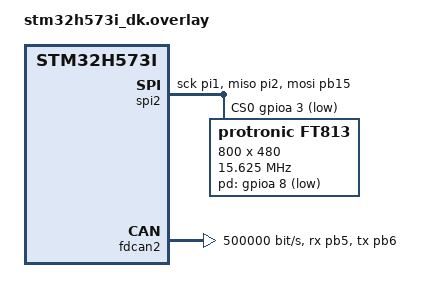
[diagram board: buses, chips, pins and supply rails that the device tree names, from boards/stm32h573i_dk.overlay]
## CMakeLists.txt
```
# Zephyr-Build der CANbossTouch-App (LVGL-UI + CANopenNode + Berry).
#
#   west build -b native_sim/native/64 CANboss/apps/touch
#   ./build/zephyr/zephyr.exe          # LVGL-Fenster (SDL2) + Shell auf stdin
#
#   west build -b stm32h573i_dk CANboss/apps/touch && west flash
#
# Headless (ohne SDL2):
#   west build -b native_sim/native/64 CANboss/apps/touch -- \
#     -DEXTRA_CONF_FILE=overlays/headless.conf \
#     -DEXTRA_DTC_OVERLAY_FILE=overlays/headless.overlay

cmake_minimum_required(VERSION 3.20.0)
find_package(Zephyr REQUIRED HINTS $ENV{ZEPHYR_BASE})
project(canbosstouch LANGUAGES C)

set(REPO_ROOT ${CMAKE_CURRENT_SOURCE_DIR}/../..)
set(CANOPEN_DIR ${REPO_ROOT}/modules/CANopenNode)
set(BERRY_DIR ${REPO_ROOT}/modules/berry)
set(CBLIB ${REPO_ROOT}/lib)

# EDS-generierte LVGL-Screens + PoC-Konfiguration
# (python3 tools/eds2lvgl.py bzw. tools/poc2lvgl.py im Repo-Root)
file(GLOB canboss_gen_sources ${CMAKE_CURRENT_SOURCE_DIR}/app/generated/*.c)

target_sources(app PRIVATE
    src/main.c
    src/canboss_sdo_zephyr.c
    src/canboss_poc_can_zephyr.c
    # gemeinsame CANopen-Schicht (lib/canopen) + Master-OD
    ${CBLIB}/canopen/can_if.c
    ${CBLIB}/canopen/can_zephyr.c
    ${CBLIB}/canopen/osal_zephyr.c
    ${CBLIB}/canopen/co_node.c
    ${CBLIB}/canopen/port/CO_driver.c
    # App-Schicht (LVGL-Screens)
    app/canboss_ui.c
    app/canboss_poc.c
    ${canboss_gen_sources}
    # CANopenNode-Stack (Submodul, protronic-Fork); nicht benoetigte
    # Module sind per CO_CONFIG in lib/canopen/port deaktiviert.
    ${CANOPEN_DIR}/CANopen.c
    ${CANOPEN_DIR}/301/CO_ODinterface.c
    ${CANOPEN_DIR}/301/CO_NMT_Heartbeat.c
    ${CANOPEN_DIR}/301/CO_HBconsumer.c
    ${CANOPEN_DIR}/301/CO_Emergency.c
    ${CANOPEN_DIR}/301/CO_SDOserver.c
    ${CANOPEN_DIR}/301/CO_SDOclient.c
    ${CANOPEN_DIR}/301/CO_PDO.c
    ${CANOPEN_DIR}/301/CO_SYNC.c
    ${CANOPEN_DIR}/301/CO_TIME.c
    ${CANOPEN_DIR}/301/CO_fifo.c
    ${CANOPEN_DIR}/301/crc16-ccitt.c
)

# FT813-Display: Framebuffer-Treiber ODER DRAW_EVE-SPI-Glue
if(CONFIG_CANBOSSTOUCH_DRAW_EVE)
    # Lokale Kopie: Upstream-flush_cb laesst den CMD-Burst zwischen Frames
    # offen (SPI-Korruption durch Touch-Reads) und wartet ohne Timeout.
    target_sources(app PRIVATE
        drivers/lv_draw_eve_zephyr.c
        drivers/lv_draw_eve_display.c
    )
elseif(CONFIG_SPI)
    # Legacy: dummer RGB565-Framebuffer in RAM_G (nicht fuer stm32h573i_dk)
    target_sources(app PRIVATE drivers/ft813.c)
endif()

target_include_directories(app PRIVATE
    src
    app
    app/generated
    drivers
    ${CBLIB}/canopen
    ${CBLIB}/canopen/port
    ${CANOPEN_DIR}
    # canboss_types.h nutzt "lvgl/lvgl.h": Elternverzeichnis des
    # LVGL-Moduls aus dem west-Manifest
    ${ZEPHYR_LVGL_MODULE_DIR}/..
)

# Master-OD: zur Buildzeit aus eds/canboss_master.eds generiert, wenn der
# EDSSharp-CLI da ist; sonst die eingecheckten Dateien aus lib/od/
include(${CBLIB}/od/od_codegen.cmake)
canboss_od_add(canboss_master)

# ---------------------------------------------------------------- Berry
if(CONFIG_CANBOSSTOUCH_BERRY)
    # gemeinsame Berry-Schicht: VM, od_*-Bindings, REPL, coc-Codegen
    # (libm: auf native_sim Teil der Host-glibc; Embedded bringt die
    # Toolchain sie selbst mit)
    include(${CBLIB}/berry_od/berry.cmake)
    # Shell-Kommando "berry" (Ausgabe an die Zephyr-Shell)
    target_sources(app PRIVATE src/berry_shell.c)
endif()
```

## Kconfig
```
# Applikationsoptionen der CANbossTouch-Zephyr-App

mainmenu "CANbossTouch - CANopen-Touchpanel"

config CANBOSSTOUCH_NODE_ID
	int "Eigene CANopen-Node-ID des Panels"
	range 1 127
	default 127
	help
	  Node-ID, mit der das Panel selbst am Bus haengt
	  (canboss_master.eds -> App/OD, Node 127).

config CANBOSSTOUCH_BERRY
	bool "Berry-Scripting (od-Modul + Shell-Kommando)"
	default y
	help
	  Bindet die Berry-VM (Middlewares/Third_Party/berry) ein und
	  registriert das Shell-Kommando "berry". Skripte erreichen das
	  Objektverzeichnis ueber od.read/od.write (SDO zu entfernten
	  Knoten) und od.local/od.local_write (eigenes OD, inkl. der
	  per RPDO empfangenen PDO-Werte).

config CANBOSSTOUCH_DRAW_EVE
	bool "LVGL DRAW_EVE fuer FT813 (GPU-Displaylisten)"
	depends on LV_USE_DRAW_EVE && SPI && GPIO
	default n
	help
	  Rendert die UI ueber LVGL LV_USE_DRAW_EVE als EVE-Displaylisten
	  auf dem gen4-FT813 (kein MCU-Framebuffer). SPI/GPIO kommen aus
	  dem DT-Knoten protronic,ft813; Touch ueber lv_draw_eve_touch.
	  native_sim bleibt beim Zephyr-Display-Binding (SDL/Dummy).

source "Kconfig.zephyr"
```

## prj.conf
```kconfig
# Zephyr-Konfiguration der CANbossTouch-App

CONFIG_CAN=y

# LVGL (Modul aus dem west-Manifest); Display kommt aus dem Devicetree
# (chosen zephyr,display)
CONFIG_DISPLAY=y
CONFIG_LVGL=y
# Spitzenverbrauch beim Navigieren (gemessen, 64-bit native_sim): ~59 KiB.
# Boards mit knappem RAM setzen in boards/<board>.conf einen kleineren Pool.
CONFIG_LV_Z_MEM_POOL_SIZE=262144
# lv_malloc-Fehler hart melden statt NULL still zu dereferenzieren (SIGSEGV)
CONFIG_LV_USE_ASSERT_MALLOC=y
CONFIG_LV_USE_ASSERT_NULL=y
CONFIG_LV_FONT_MONTSERRAT_14=y
CONFIG_LV_FONT_MONTSERRAT_20=y
CONFIG_LV_FONT_MONTSERRAT_24=y
CONFIG_LV_USE_LIST=y
CONFIG_LV_USE_SPINBOX=y
CONFIG_LV_USE_KEYBOARD=y
CONFIG_LV_USE_TEXTAREA=y
CONFIG_LV_USE_BAR=y
CONFIG_LV_USE_SLIDER=y
CONFIG_LV_USE_SWITCH=y
CONFIG_LV_USE_FLEX=y

# Eingabe (Touch/Maus -> LVGL-Pointer)
CONFIG_INPUT=y

# Shell mit "berry"-Kommando (Skript-Zugriff auf OD/PDOs)
CONFIG_SHELL=y
CONFIG_SHELL_STACK_SIZE=16384
CONFIG_SHELL_CMD_BUFF_SIZE=512

# Main-Thread: LVGL-Loop; CAN-RX/Mainline/SDO-Worker sind k_threads
CONFIG_MAIN_STACK_SIZE=16384
CONFIG_HEAP_MEM_POOL_SIZE=131072

# Berry-VM: malloc aus der libc (native_sim: Host-libc)
CONFIG_BOOT_BANNER=n

# Gleitkomma-Formatierung (Berry real, F32-Datenpunkte)
CONFIG_CBPRINTF_FP_SUPPORT=y

# LVGLs Assert-Handler ist im Zephyr-Modul __ASSERT_NO_MSG(false) - ohne
# CONFIG_ASSERT ein No-Op: ein voller LVGL-Pool (LV_USE_ASSERT_MALLOC)
# laeuft dann still in den Bus Fault, der Main-Thread stirbt und haelt den
# EVE-Bus-Lock fuer immer ('eve status' -> Timeout). Asserts scharf schalten,
# damit OOM & Co. laut auf der Konsole landen.
CONFIG_ASSERT=y
```

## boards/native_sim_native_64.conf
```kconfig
# native_sim: LVGL-Fenster ueber den SDL-Displaytreiber (libsdl2-dev
# auf dem Host noetig), Maus als LVGL-Pointer.
# Headless (CI/Container ohne SDL2): mit
#   -DEXTRA_CONF_FILE=overlays/headless.conf
#   -DEXTRA_DTC_OVERLAY_FILE=overlays/headless.overlay
# auf das Dummy-Display umschalten.
CONFIG_SDL_DISPLAY=y
CONFIG_INPUT_SDL_TOUCH=y
# Shell (berry-Kommando) ueber die UART-Konsole auf stdin/stdout
CONFIG_SERIAL=y
CONFIG_UART_NATIVE_PTY=y
CONFIG_UART_NATIVE_PTY_0_ON_STDINOUT=y
```

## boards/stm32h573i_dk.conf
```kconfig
# STM32H573I-DK: FT813 (EVE2) am SPI2, CAN ueber FDCAN2
CONFIG_SPI=y
CONFIG_GPIO=y
CONFIG_DUMMY_DISPLAY=y

# LVGL EVE-GPU-Pfad (Displaylisten); Zephyr-Chosen ist nur Dummy (min. VDB)
CONFIG_LV_USE_DRAW_EVE=y
CONFIG_LV_DRAW_EVE_EVE_GENERATION=2
CONFIG_LV_DRAW_EVE_WRITE_BUFFER_SIZE=2048
CONFIG_CANBOSSTOUCH_DRAW_EVE=y
CONFIG_LV_Z_VDB_SIZE=1
CONFIG_LV_Z_BITS_PER_PIXEL=16
CONFIG_LV_Z_DOUBLE_VDB=n

# 640 KiB SRAM: Heaps knapper als am PC
CONFIG_HEAP_MEM_POOL_SIZE=32768

# Berry braucht eine vollwertige libc (setjmp, malloc, strtod)
CONFIG_PICOLIBC=y
CONFIG_COMMON_LIBC_MALLOC_ARENA_SIZE=57344

# Konsole/Shell auf der ST-Link-VCP-UART (Board-Default)
CONFIG_UART_CONSOLE=y

# LVGL-Warnungen (Pool voll, RAM_G voll, unsupported Font, ...) auf die
# Konsole + 'lvgl'-Shell (Speicher-/Monitor-Stats) fuer die Haenger-Diagnose
CONFIG_LV_USE_LOG=y
CONFIG_LV_LOG_LEVEL_WARN=y
CONFIG_LV_Z_SHELL=y

# LOG_MODE_MINIMAL: LOG_ERR/LOG_INF gehen direkt nach printk, ohne die
# Deferred-Puffer des Log-Subsystems (spart RAM bei 640 KiB SRAM)
CONFIG_LOG=y
CONFIG_LOG_MODE_MINIMAL=y

# Feintuning fuer 640 KiB SRAM (Zephyr 4.4 / SDK 1.0).
# Node 16 hat 22 Zeilen; mit eager lv_keyboard (Dutzende Buttons) knackte
# der 40-KiB-Pool (Bus Fault auf spec_attr->ext_draw_size). Tastatur ist
# jetzt lazy; 64 KiB lassen Spielraum fuer den dichten Screen + Glyphen.
CONFIG_LV_Z_MEM_POOL_SIZE=65536
CONFIG_SHELL_STACK_SIZE=9216
CONFIG_MAIN_STACK_SIZE=12288
```

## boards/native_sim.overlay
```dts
/*
 * native_sim: 800x480-Panel (wie der STM32-Zielaufbau) und
 * LVGL-Pointer auf dem SDL-Touch/Maus-Eingang.
 *
 * CAN: chosen zephyr,canbus bleibt auf can_loopback0 (Default) -
 * damit antwortet der eigene SDO-Server des Panels auf SDO-Anfragen
 * des Panels (Loopback-Demo, auch fuer Berry-Skripte). Fuer echtes
 * Host-SocketCAN das vcan-Overlay dazunehmen:
 *   -DEXTRA_DTC_OVERLAY_FILE=overlays/vcan.overlay
 */

/ {
	lvgl_pointer {
		compatible = "zephyr,lvgl-pointer-input";
		input = <&input_sdl_touch>;
	};
};

&sdl_dc {
	height = <480>;
	width = <800>;
};
```

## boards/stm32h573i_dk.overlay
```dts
/*
 * STM32H573I-DK mit gen4-FT813-70CTP-CLB am Arduino-Header
 * (Verdrahtung siehe README im Repo-Root):
 *
 *   SCK  = D13 = PI1  (SPI2_SCK)     MISO = D12 = PI2  (SPI2_MISO)
 *   MOSI = D11 = PB15 (SPI2_MOSI)    /CS  = D10 = PA3  (GPIO)
 *   PD   = D9  = PA8  (GPIO)         INT  = D8  = PG8  (unbenutzt)
 *   CAN  : RX = D3 = PB5 (FDCAN2_RX)  TX = D15 = PB6 (FDCAN2_TX)
 *
 * zephyr,display zeigt auf ein Dummy-Display (Zephyr-LVGL-Modul braucht
 * ein Chosen); die echte UI laeuft ueber LVGL DRAW_EVE + SPI-Glue am
 * ft813-Knoten. Touch kommt vom Pointer-Indev des DRAW_EVE-Glue
 * (native FT813-Touch-Engine), nicht von zephyr,lvgl-pointer-input.
 */

/ {
	chosen {
		zephyr,display = &dummy_dc;
		zephyr,canbus = &fdcan2;
	};

	dummy_dc: dummy_dc {
		compatible = "zephyr,dummy-dc";
		width = <800>;
		height = <480>;
	};
};

&spi2 {
	status = "okay";
	/* /CS als GPIO: DRAW_EVE steuert CS manuell ueber mehrere
	 * SPI-Bursts hinweg (Zephyr-Auto-CS waere zu kurz). */
	pinctrl-0 = <&spi2_sck_pi1 &spi2_miso_pi2 &spi2_mosi_pb15>;
	pinctrl-names = "default";
	cs-gpios = <&gpioa 3 GPIO_ACTIVE_LOW>;

	ft813: ft813@0 {
		compatible = "protronic,ft813";
		reg = <0>;
		/* Bring-up im Glue mit 8 MHz; Betrieb danach mit
		 * 250 MHz Kerneltakt / 16 = 15.625 MHz (FT81x-Max 30 MHz) */
		spi-max-frequency = <15625000>;
		pd-gpios = <&gpioa 8 GPIO_ACTIVE_LOW>; /* PD_N: low = Power-Down */
		width = <800>;
		height = <480>;
		backlight-duty = <96>;
		touch-poll-ms = <0>; /* Touch ueber lv_draw_eve_touch */
	};
};

/* CANopen ueber FDCAN2 am Arduino-Header (PB5/PB6); das Onboard-FDCAN1
 * des DK bleibt frei. */
&fdcan2 {
	status = "okay";
	pinctrl-0 = <&fdcan2_rx_pb5 &fdcan2_tx_pb6>;
	pinctrl-names = "default";
	bitrate = <500000>; /* wie der bisherige Firmware-Stand */
};
```

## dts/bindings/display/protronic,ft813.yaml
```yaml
# FTDI/Bridgetek FT813 (EVE2) am SPI — DT-Knoten fuer Timings/GPIO.
# Auf stm32h573i_dk steuert drivers/lv_draw_eve_zephyr.c den Chip
# (LVGL DRAW_EVE). Legacy: drivers/ft813.c als dummer RGB565-Framebuffer.

description: FT813 (EVE2) SPI display (DRAW_EVE glue or legacy framebuffer)

compatible: "protronic,ft813"

include: [spi-device.yaml]

properties:
  pd-gpios:
    type: phandle-array
    required: true
    description: |
      Power-Down-/Reset-Leitung (PD_N, low-aktiv). Asserted = Chip im
      Power-Down.

  width:
    type: int
    default: 800
    description: Panelbreite in Pixeln

  height:
    type: int
    default: 480
    description: Panelhoehe in Pixeln

  backlight-duty:
    type: int
    default: 96
    description: Backlight-PWM-Tastgrad nach dem Einschalten (0..128)

  touch-poll-ms:
    type: int
    default: 30
    description: |
      Nur Legacy-Framebuffer-Treiber: Abtastintervall der Touch-Engine
      in Millisekunden (0 = aus). DRAW_EVE pollt die Touch-Engine ueber
      den eigenen LVGL-Pointer-Indev des Glue-Codes.
```

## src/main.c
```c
/**
 * main.c
 *
 * Einstieg der CANbossTouch-Zephyr-App (Port des STM32-Builds):
 *
 *  - LVGL initialisiert das Zephyr-Modul selbst (SYS_INIT, Display aus
 *    dem Devicetree: SDL-Fenster auf native_sim; auf STM32 ein Dummy
 *    als Chosen + DRAW_EVE fuer den FT813)
 *  - CANopenNode-Stack (Node 127, lib/od/canboss_master) ueber lib/canopen
 *  - SDO-Worker fuer die UI-Datenpunkte (canboss_sdo_zephyr.c)
 *  - EDS-generierte LVGL-Screens (App/canboss_ui.c + App/generated/)
 *  - optional Berry-Scripting mit od-Modul + Shell-Kommando "berry"
 *
 * Der Main-Thread faehrt anschliessend die LVGL-Timer-Schleife.
 */

#include <stdio.h>
#include <string.h>

#include <zephyr/device.h>
#include <zephyr/drivers/display.h>

#include <zephyr/kernel.h>

#include "lvgl/lvgl.h"

#include "canboss_poc.h"
#include "canboss_sdo.h"
#include "canboss_ui.h"
#include "co_node.h"
#include "canboss_master.h" /* nach co_node.h (CANopenNode-Typen) */

#ifdef CONFIG_CANBOSSTOUCH_DRAW_EVE
#include "lv_draw_eve_zephyr.h"
#endif

#ifdef CONFIG_CANBOSSTOUCH_BERRY
#include "canboss_berry.h"
#endif

#ifdef CB_DEBUG_OPEN_NODE
/* Monkey-Tester: simuliert Maus-Eingaben ueber den Zephyr-Input-Pfad
 * (SDL-Touch-Device -> lvgl_pointer -> Indev). Tippt/zieht zufaellig
 * auf echte Widgets (Listeneintraege, Back-Button, Slider, ...), damit
 * Navigation + Widget-Interaktion dauerhaft durchlaufen werden. */
#include <zephyr/input/input.h>
#include <lvgl_mem.h>
#include <zephyr/sys/sys_heap.h>

static uint32_t cb_dbg_seed = 0x2f6e2b1u;

static uint32_t
cb_dbg_rand(void) {
    cb_dbg_seed = cb_dbg_seed * 1664525u + 1013904223u;
    return cb_dbg_seed >> 8;
}

static void
cb_debug_touch(int x, int y, int pressed) {
    const struct device* tdev = DEVICE_DT_GET(DT_NODELABEL(input_sdl_touch));
    input_report_abs(tdev, INPUT_ABS_X, x, false, K_FOREVER);
    input_report_abs(tdev, INPUT_ABS_Y, y, false, K_FOREVER);
    input_report_key(tdev, INPUT_BTN_TOUCH, pressed, true, K_FOREVER);
}

/* Zufaelligen (Ur-)Enkel des aktiven Screens auswaehlen */
static lv_obj_t*
cb_debug_pick(lv_obj_t* obj, int depth) {
    uint32_t n = lv_obj_get_child_count(obj);
    if (n == 0 || depth > 7 || (cb_dbg_rand() % 5u) == 0u) {
        return obj;
    }
    return cb_debug_pick(lv_obj_get_child(obj, (int32_t)(cb_dbg_rand() % n)), depth + 1);
}

static void
cb_debug_nav_timer(lv_timer_t* t) {
    static int pressed = 0;
    static int px, py;
    static uint32_t taps = 0;
    lv_obj_t* scr = lv_screen_active();

    if (!pressed) {
        if ((cb_dbg_rand() % 4u) != 0u) { /* 75%: gezielt ein Widget treffen */
            lv_obj_t* target = cb_debug_pick(scr, 0);
            lv_area_t a;
            lv_obj_get_coords(target, &a);
            px = (a.x1 + a.x2) / 2;
            py = (a.y1 + a.y2) / 2;
        } else { /* 25%: freie Position */
            px = (int)(cb_dbg_rand() % (uint32_t)lv_obj_get_width(scr));
            py = (int)(cb_dbg_rand() % (uint32_t)lv_obj_get_height(scr));
        }
        cb_debug_touch(px, py, 1);
        pressed = 1;
        if ((++taps % 50u) == 0u) {
            struct sys_memory_stats st = {0};
            lvgl_heap_stats(&st);
            printf("dbg-monkey: %u taps, lvgl-heap: used=%zu free=%zu max=%zu\n", taps, st.allocated_bytes,
                   st.free_bytes, st.max_allocated_bytes);
            fflush(stdout);
        }
    } else {
        if ((cb_dbg_rand() % 3u) == 0u) { /* 1/3: ziehen statt loslassen */
            px += (int)(cb_dbg_rand() % 121u) - 60;
            py += (int)(cb_dbg_rand() % 121u) - 60;
            if (px < 0) { px = 0; }
            if (py < 0) { py = 0; }
            cb_debug_touch(px, py, 1);
        } else {
            cb_debug_touch(px, py, 0);
            pressed = 0;
        }
    }
    (void)t;
}
#endif

int
main(void) {
    /* OD-Konfiguration des Panels (muss den Stack ueberleben) */
    static CO_config_t cb_master_config;
    memset(&cb_master_config, 0, sizeof(cb_master_config));
    canboss_master_INIT_CONFIG(cb_master_config);

    /* Raw-Frames der PoC-Hallenlichtsteuerung aus dem RX-Thread */
    cb_co_set_raw_rx_hook(canboss_poc_can_rx);

    const cb_can_backend_t* backend = cb_can_backend_find("zephyr");
    if (cb_co_start(canboss_master, &cb_master_config, backend, "zephyr,canbus", 0, CONFIG_CANBOSSTOUCH_NODE_ID)
        != 0) {
        printf("Warnung: %s - UI laeuft ohne CAN weiter\n", cb_co_error());
    }

    canboss_sdo_init();

#ifdef CONFIG_CANBOSSTOUCH_BERRY
    canboss_berry_init(canboss_master);
    {
        uint8_t ids[64];
        uint16_t n = canboss_node_count < 64 ? canboss_node_count : 64;
        for (uint16_t i = 0; i < n; i++) {
            ids[i] = canboss_nodes[i]->node_id;
        }
        canboss_berry_set_nodes(ids, n);
    }
#endif

    /* Ohne bereites Display hat lvgl_init() (SYS_INIT des LVGL-Moduls)
     * abgebrochen, BEVOR lv_init()/Heap-Init liefen - jeder lv_*-Aufruf
     * wuerde dann abstuerzen (auf native_sim z.B. wenn SDL kein Fenster
     * oeffnen kann). Klar melden statt SIGSEGV. */
    const struct device* display = DEVICE_DT_GET(DT_CHOSEN(zephyr_display));
    if (!device_is_ready(display)) {
        printf("Fehler: Display nicht bereit (native_sim: SDL/DISPLAY pruefen) - UI startet nicht, CAN-Stack laeuft "
               "weiter\n");
        for (;;) {
            k_msleep(1000);
        }
    }

#ifdef CONFIG_CANBOSSTOUCH_DRAW_EVE
    /* STM32: Chosen ist Dummy (Zephyr-LVGL-Zwang); echte UI ueber EVE-GPU */
    if (canboss_eve_display_init() != 0) {
        /* Ohne antwortenden Chip wuerde die Renderschleife in
         * EVE_execute_cmd() endlos auf den Koprozessor warten. Also nicht
         * rendern, aber die Shell fuer 'eve status'/'eve reg' am Leben
         * halten. */
        printf("Fehler: FT813 DRAW_EVE-Init fehlgeschlagen - UI startet nicht.\n"
               "Diagnose in der Shell: 'eve status', 'eve reg 302000 8'\n");
        for (;;) {
            k_msleep(1000);
        }
    }
#else
    /* Display einschalten: der SDL-Treiber (native_sim) praesentiert
     * erst nach blanking_off. (Das LVGL-Modul selbst ruft blanking_off
     * nicht auf.) */
    (void)display_blanking_off(display);
#endif

    canboss_ui_init();
#ifdef CB_DEBUG_OPEN_NODE /* Testpfad: Monkey-Eingaben headless simulieren */
    lv_timer_create(cb_debug_nav_timer, 60, NULL);
#endif

    for (;;) {
#ifdef CONFIG_CANBOSSTOUCH_DRAW_EVE
        uint32_t sleep_ms = canboss_eve_timer_handler();
#else
        uint32_t sleep_ms = lv_timer_handler();
#endif
        if (sleep_ms == LV_NO_TIMER_READY || sleep_ms > 50u) {
            sleep_ms = 50u;
        }
        if (sleep_ms < 1u) {
            sleep_ms = 1u;
        }
        k_msleep((int32_t)sleep_ms);
    }

    return 0;
}
```

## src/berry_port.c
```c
/**
 * berry_port.c
 *
 * Berry-Portierungsschicht der Zephyr-App (ersetzt berry/default/be_port.c):
 *
 *  - be_writebuffer(): Skript-Ausgabe (print, Fehlermeldungen) geht an
 *    eine umschaltbare Senke - waehrend eines Shell-Kommandos an die
 *    Shell, sonst an stdout/Konsole.
 *  - kein Dateisystem: Datei-API als Stubs (BE_USE_FILE_SYSTEM 0).
 */

#include "berry.h"

#include <stdio.h>
#include <string.h>

#include "canboss_berry.h"

static cb_berry_sink_t cb_sink;
static void* cb_sink_user;

void
cb_berry_set_sink(cb_berry_sink_t sink, void* user) {
    cb_sink = sink;
    cb_sink_user = user;
}

BERRY_API void
be_writebuffer(const char* buffer, size_t length) {
    if (cb_sink != NULL) {
        cb_sink(cb_sink_user, buffer, length);
    } else {
        fwrite(buffer, 1, length, stdout);
    }
}

BERRY_API char*
be_readstring(char* buffer, size_t size) {
    (void)buffer;
    (void)size;
    return NULL; /* kein interaktives stdin (REPL laeuft ueber die Shell) */
}

/* Datei-API: ohne Dateisystem nur Stubs (BE_USE_FILE_SYSTEM 0) */

void*
be_fopen(const char* filename, const char* modes) {
    (void)filename;
    (void)modes;
    return NULL;
}

int
be_fclose(void* hfile) {
    (void)hfile;
    return -1;
}

size_t
be_fwrite(void* hfile, const void* buffer, size_t length) {
    if (hfile == stdout || hfile == stderr) {
        be_writebuffer(buffer, length);
        return length;
    }
    return 0;
}

size_t
be_fread(void* hfile, void* buffer, size_t length) {
    (void)hfile;
    (void)buffer;
    (void)length;
    return 0;
}

char*
be_fgets(void* hfile, void* buffer, int size) {
    (void)hfile;
    (void)buffer;
    (void)size;
    return NULL;
}

int
be_fseek(void* hfile, long offset) {
    (void)hfile;
    (void)offset;
    return -1;
}

long int
be_ftell(void* hfile) {
    (void)hfile;
    return -1;
}

long int
be_fflush(void* hfile) {
    (void)hfile;
    return 0;
}

size_t
be_fsize(void* hfile) {
    (void)hfile;
    return 0;
}
```

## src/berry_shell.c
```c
/**
 * berry_shell.c
 *
 * Zephyr-Shell-Kommando "berry" des Touch-Panels: fuehrt Skripttext
 * ueber die gemeinsame Berry-Schicht (lib/berry_od) aus, Ausgabe geht
 * an die Shell. `berry help()` zeigt Beispiele und die od_*-API.
 */

#include <stdio.h>

#include <zephyr/shell/shell.h>

#include "co_node.h" /* OD-Typen fuer canboss_berry.h */

#include "canboss_berry.h"

static void
cb_shell_sink(void* user, const char* buf, size_t len) {
    const struct shell* sh = (const struct shell*)user;
    shell_fprintf(sh, SHELL_NORMAL, "%.*s", (int)len, buf);
}

static int
cmd_berry(const struct shell* sh, size_t argc, char** argv) {
    /* Argumente wieder zu einem Skripttext zusammensetzen */
    static char code[CONFIG_SHELL_CMD_BUFF_SIZE];
    code[0] = '\0';
    size_t pos = 0;
    for (size_t i = 1; i < argc; i++) {
        int w = snprintf(code + pos, sizeof(code) - pos, "%s%s", i > 1 ? " " : "", argv[i]);
        if (w < 0 || (size_t)w >= sizeof(code) - pos) {
            break;
        }
        pos += (size_t)w;
    }

    cb_berry_set_sink(cb_shell_sink, (void*)sh);
    int ret = canboss_berry_exec(code);
    cb_berry_set_sink(NULL, NULL);
    return ret;
}

SHELL_CMD_ARG_REGISTER(berry, NULL,
                       "Berry-Skript ausfuehren; 'berry help()' zeigt Beispiele, "
                       "z.B.: berry print(od_read(127,0x1017,0))",
                       cmd_berry, 2, 32);
```

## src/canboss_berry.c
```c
/**
 * canboss_berry.c
 *
 * Berry-VM mit od_*-Bindings (siehe canboss_berry.h) und
 * Zephyr-Shell-Kommando "berry".
 *
 * Remote-Zugriffe laufen ueber die blockierenden SDO-Transfers aus
 * lib/canopen/co_node.c (mit dem SDO-Worker der UI serialisiert), lokale
 * OD-Zugriffe ueber die OD-Schnittstelle von CANopenNode unter
 * CO_LOCK_OD - dort liegen auch die per RPDO empfangenen PDO-Werte
 * (z.B. 0x2110 Analogeingaenge, 0x2111 Temperatur).
 */

#include "canboss_berry.h"

#include <stdio.h>
#include <stdlib.h>
#include <string.h>

#include <zephyr/kernel.h>
#include <zephyr/shell/shell.h>

#include "berry.h"

#include "CANopen.h"
#include "canboss_master.h"

#include "canboss_types.h"
#include "co_node.h"
#include "osal.h"

static bvm* cb_vm;

/* ------------------------------------------------------------------ */
/* Hilfen                                                              */

static int64_t
cb_le_to_int(const uint8_t* data, size_t len) {
    uint64_t u = 0;
    for (size_t i = 0; i < len && i < 8; i++) {
        u |= (uint64_t)data[i] << (8u * i);
    }
    return (int64_t)u;
}

static void
cb_int_to_le(uint8_t* data, size_t len, int64_t v) {
    for (size_t i = 0; i < len; i++) {
        data[i] = (uint8_t)((uint64_t)v >> (8u * i));
    }
}

static int
cb_arg_error(bvm* vm, const char* msg) {
    be_raise(vm, "type_error", msg);
    be_return_nil(vm);
}

static int
cb_sdo_error(bvm* vm, uint32_t abort_code) {
    be_raise(vm, "sdo_error", cb_co_abort_str(abort_code));
    be_return_nil(vm);
}

/* ------------------------------------------------------------------ */
/* Remote-Zugriff per SDO                                              */

static int
cb_remote_read(bvm* vm, uint8_t* buf, size_t buf_size, size_t* got) {
    if (be_top(vm) < 3 || !be_isint(vm, 1) || !be_isint(vm, 2) || !be_isint(vm, 3)) {
        return cb_arg_error(vm, "od_read(node, index, sub)");
    }
    uint32_t abort = 0;
    if (cb_co_sdo_read((uint8_t)be_toint(vm, 1), (uint16_t)be_toint(vm, 2), (uint8_t)be_toint(vm, 3), buf, buf_size,
                       got, &abort)
        != 0) {
        return cb_sdo_error(vm, abort);
    }
    return -1; /* kein Fehler: Aufrufer pusht das Ergebnis */
}

static int
m_od_read(bvm* vm) {
    uint8_t buf[64];
    size_t got = 0;
    int err = cb_remote_read(vm, buf, sizeof(buf), &got);
    if (err >= 0) {
        return err;
    }
    if (got <= 8) {
        be_pushint(vm, (bint)cb_le_to_int(buf, got));
    } else {
        be_pushnstring(vm, (const char*)buf, got);
    }
    be_return(vm);
}

static int
m_od_reads(bvm* vm) {
    uint8_t buf[64];
    size_t got = 0;
    int err = cb_remote_read(vm, buf, sizeof(buf), &got);
    if (err >= 0) {
        return err;
    }
    /* NUL-terminierte VISIBLE_STRINGs sauber kappen */
    size_t n = 0;
    while (n < got && buf[n] != '\0') {
        n++;
    }
    be_pushnstring(vm, (const char*)buf, n);
    be_return(vm);
}

static int
m_od_readf(bvm* vm) {
    uint8_t buf[8];
    size_t got = 0;
    int err = cb_remote_read(vm, buf, sizeof(buf), &got);
    if (err >= 0) {
        return err;
    }
    if (got != 4) {
        return cb_arg_error(vm, "od_readf: Datenpunkt ist kein REAL32");
    }
    float f;
    memcpy(&f, buf, 4);
    be_pushreal(vm, (breal)f);
    be_return(vm);
}

static int
m_od_write(bvm* vm) {
    if (be_top(vm) < 4 || !be_isint(vm, 1) || !be_isint(vm, 2) || !be_isint(vm, 3)) {
        return cb_arg_error(vm, "od_write(node, index, sub, wert[, size])");
    }
    uint8_t node = (uint8_t)be_toint(vm, 1);
    uint16_t index = (uint16_t)be_toint(vm, 2);
    uint8_t sub = (uint8_t)be_toint(vm, 3);

    uint8_t buf[CANBOSS_DP_DATA_MAX];
    size_t len;

    if (be_isstring(vm, 4)) {
        const char* s = be_tostring(vm, 4);
        len = strlen(s);
        if (len > sizeof(buf)) {
            len = sizeof(buf);
        }
        memcpy(buf, s, len);
    } else if (be_isreal(vm, 4)) {
        float f = (float)be_toreal(vm, 4);
        memcpy(buf, &f, 4);
        len = 4;
    } else if (be_isint(vm, 4)) {
        if (be_top(vm) < 5 || !be_isint(vm, 5)) {
            return cb_arg_error(vm, "od_write: fuer Integer size angeben (1/2/4/8)");
        }
        len = (size_t)be_toint(vm, 5);
        if (len != 1 && len != 2 && len != 4 && len != 8) {
            return cb_arg_error(vm, "od_write: size muss 1/2/4/8 sein");
        }
        cb_int_to_le(buf, len, (int64_t)be_toint(vm, 4));
    } else {
        return cb_arg_error(vm, "od_write: wert muss int/real/string sein");
    }

    uint32_t abort = 0;
    if (cb_co_sdo_write(node, index, sub, buf, len, &abort) != 0) {
        return cb_sdo_error(vm, abort);
    }
    be_pushbool(vm, true);
    be_return(vm);
}

/* ------------------------------------------------------------------ */
/* Lokales OD (inkl. RPDO-Werte)                                       */

/* Liefert Laenge des Subeintrags oder 0 bei Fehler */
static size_t
cb_local_len(uint16_t index, uint8_t sub, OD_entry_t** entry_out) {
    OD_entry_t* entry = OD_find(canboss_master, index);
    if (entry == NULL) {
        return 0;
    }
    OD_IO_t io;
    if (OD_getSub(entry, sub, &io, true) != ODR_OK) {
        return 0;
    }
    *entry_out = entry;
    return (size_t)io.stream.dataLength;
}

static int
m_od_local_common(bvm* vm, bool as_float) {
    if (be_top(vm) < 2 || !be_isint(vm, 1) || !be_isint(vm, 2)) {
        return cb_arg_error(vm, "od_local(index, sub)");
    }
    uint16_t index = (uint16_t)be_toint(vm, 1);
    uint8_t sub = (uint8_t)be_toint(vm, 2);

    OD_entry_t* entry = NULL;
    size_t len = cb_local_len(index, sub, &entry);
    if (len == 0 || len > 64) {
        return cb_arg_error(vm, "od_local: Eintrag nicht vorhanden");
    }

    uint8_t buf[64];
    CO_t* co = (CO_t*)cb_co_handle();
    if (co != NULL) {
        CO_LOCK_OD(co->CANmodule);
    }
    ODR_t r = OD_get_value(entry, sub, buf, (OD_size_t)len, true);
    if (co != NULL) {
        CO_UNLOCK_OD(co->CANmodule);
    }
    if (r != ODR_OK) {
        return cb_arg_error(vm, "od_local: Lesen fehlgeschlagen");
    }

    if (as_float) {
        if (len != 4) {
            return cb_arg_error(vm, "od_localf: Eintrag ist kein REAL32");
        }
        float f;
        memcpy(&f, buf, 4);
        be_pushreal(vm, (breal)f);
    } else if (len <= 8) {
        be_pushint(vm, (bint)cb_le_to_int(buf, len));
    } else {
        size_t n = 0;
        while (n < len && buf[n] != '\0') {
            n++;
        }
        be_pushnstring(vm, (const char*)buf, n);
    }
    be_return(vm);
}

static int
m_od_local(bvm* vm) {
    return m_od_local_common(vm, false);
}

static int
m_od_localf(bvm* vm) {
    return m_od_local_common(vm, true);
}

static int
m_od_local_write(bvm* vm) {
    if (be_top(vm) < 3 || !be_isint(vm, 1) || !be_isint(vm, 2)) {
        return cb_arg_error(vm, "od_local_write(index, sub, wert[, size])");
    }
    uint16_t index = (uint16_t)be_toint(vm, 1);
    uint8_t sub = (uint8_t)be_toint(vm, 2);

    OD_entry_t* entry = NULL;
    size_t od_len = cb_local_len(index, sub, &entry);
    if (od_len == 0 || od_len > 64) {
        return cb_arg_error(vm, "od_local_write: Eintrag nicht vorhanden");
    }

    uint8_t buf[64];
    size_t len = od_len;
    memset(buf, 0, sizeof(buf));

    if (be_isstring(vm, 3)) {
        const char* s = be_tostring(vm, 3);
        size_t n = strlen(s);
        if (n > od_len) {
            n = od_len;
        }
        memcpy(buf, s, n);
    } else if (be_isreal(vm, 3)) {
        if (od_len != 4) {
            return cb_arg_error(vm, "od_local_write: Eintrag ist kein REAL32");
        }
        float f = (float)be_toreal(vm, 3);
        memcpy(buf, &f, 4);
    } else if (be_isint(vm, 3)) {
        if (od_len > 8) {
            return cb_arg_error(vm, "od_local_write: Eintrag ist kein Integer");
        }
        cb_int_to_le(buf, od_len, (int64_t)be_toint(vm, 3));
    } else {
        return cb_arg_error(vm, "od_local_write: wert muss int/real/string sein");
    }

    CO_t* co = (CO_t*)cb_co_handle();
    if (co != NULL) {
        CO_LOCK_OD(co->CANmodule);
    }
    ODR_t r = OD_set_value(entry, sub, buf, (OD_size_t)len, true);
    if (co != NULL) {
        CO_UNLOCK_OD(co->CANmodule);
    }
    if (r != ODR_OK) {
        return cb_arg_error(vm, "od_local_write: Schreiben fehlgeschlagen");
    }
    be_pushbool(vm, true);
    be_return(vm);
}

static int
m_od_nodes(bvm* vm) {
    be_newobject(vm, "list");
    for (uint16_t i = 0; i < canboss_node_count; i++) {
        be_pushint(vm, canboss_nodes[i]->node_id);
        be_data_push(vm, -2);
        be_pop(vm, 1);
    }
    be_pop(vm, 1);
    be_return(vm);
}

/* ------------------------------------------------------------------ */
/* VM + Ausfuehrung                                                    */

int
canboss_berry_exec(const char* code) {
    if (cb_vm == NULL || code == NULL) {
        return -1;
    }

    cb_mutex_lock(CB_MUTEX_BERRY);

    /* Erst als Ausdruck versuchen ("return (...)"), damit
     * `berry 1+2` direkt das Ergebnis liefert; sonst als Anweisung. */
    int ret;
    size_t n = strlen(code) + 16;
    char* expr = malloc(n);
    if (expr != NULL) {
        snprintf(expr, n, "return (%s)", code);
        ret = be_loadstring(cb_vm, expr);
        free(expr);
        if (ret != 0) {
            be_pop(cb_vm, 1); /* Compilerfehler verwerfen, als Anweisung versuchen */
            ret = be_loadstring(cb_vm, code);
        }
    } else {
        ret = be_loadstring(cb_vm, code);
    }

    if (ret == 0) {
        ret = be_pcall(cb_vm, 0);
    }

    if (ret != 0) {
        be_dumpexcept(cb_vm); /* Ausgabe ueber be_writebuffer -> Senke */
    } else {
        if (!be_isnil(cb_vm, -1)) {
            const char* s = be_tostring(cb_vm, -1);
            be_writebuffer(s, strlen(s));
            be_writebuffer("\n", 1);
        }
        be_pop(cb_vm, 1);
    }

    cb_mutex_unlock(CB_MUTEX_BERRY);
    return ret == 0 ? 0 : -1;
}

void
canboss_berry_init(void) {
    if (cb_vm != NULL) {
        return;
    }
    cb_vm = be_vm_new();

    be_regfunc(cb_vm, "od_read", m_od_read);
    be_regfunc(cb_vm, "od_reads", m_od_reads);
    be_regfunc(cb_vm, "od_readf", m_od_readf);
    be_regfunc(cb_vm, "od_write", m_od_write);
    be_regfunc(cb_vm, "od_local", m_od_local);
    be_regfunc(cb_vm, "od_localf", m_od_localf);
    be_regfunc(cb_vm, "od_local_write", m_od_local_write);
    be_regfunc(cb_vm, "od_nodes", m_od_nodes);
}

/* ------------------------------------------------------------------ */
/* Shell-Kommando: berry <skript>                                      */

static void
cb_shell_sink(void* user, const char* buf, size_t len) {
    const struct shell* sh = (const struct shell*)user;
    shell_fprintf(sh, SHELL_NORMAL, "%.*s", (int)len, buf);
}

static int
cmd_berry(const struct shell* sh, size_t argc, char** argv) {
    if (cb_vm == NULL) {
        shell_error(sh, "Berry-VM nicht initialisiert");
        return -1;
    }

    /* Argumente wieder zu einem Skripttext zusammensetzen */
    static char code[CONFIG_SHELL_CMD_BUFF_SIZE];
    code[0] = '\0';
    size_t pos = 0;
    for (size_t i = 1; i < argc; i++) {
        int w = snprintf(code + pos, sizeof(code) - pos, "%s%s", i > 1 ? " " : "", argv[i]);
        if (w < 0 || (size_t)w >= sizeof(code) - pos) {
            break;
        }
        pos += (size_t)w;
    }

    cb_berry_set_sink(cb_shell_sink, (void*)sh);
    int ret = canboss_berry_exec(code);
    cb_berry_set_sink(NULL, NULL);
    return ret;
}

SHELL_CMD_ARG_REGISTER(berry, NULL,
                       "Berry-Skript ausfuehren, z.B.: berry print(od_read(127,0x1017,0))",
                       cmd_berry, 2, 32);
```

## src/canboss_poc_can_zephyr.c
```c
/**
 * canboss_poc_can_zephyr.c
 *
 * Zephyr-Backend der PoC-Hallenlichtsteuerung.
 *
 *  - TX: Raw-Frame ueber Chosen-CAN (zephyr,canbus). WICHTIG: callback
 *    darf NICHT NULL sein - z_impl_can_send() wartet sonst mit
 *    k_sem_take(..., K_FOREVER) auf TX-Complete/ACK. Ohne zweiten Knoten
 *    haengt der LVGL-Thread Sekunden (PoC laesst sich nicht verlassen).
 *  - RX: weiterhin ueber den CANopen-RX-Hook (canboss_poc_can_rx)
 */

#include "canboss_poc.h"
#include "canboss_poc_gen.h"

#include <string.h>

#include <zephyr/device.h>
#include <zephyr/drivers/can.h>
#include <zephyr/kernel.h>
#include <zephyr/sys/atomic.h>

static atomic_t poc_tx_fail_count;

static void
poc_can_tx_done(const struct device *dev, int error, void *user_data)
{
	ARG_UNUSED(dev);
	ARG_UNUSED(user_data);

	if (error != 0) {
		atomic_inc(&poc_tx_fail_count);
	}
}

bool
canboss_poc_can_tx_had_error(void)
{
	return atomic_set(&poc_tx_fail_count, 0) != 0;
}

bool
canboss_poc_can_tx(const uint8_t payload[6])
{
	const struct device *can_dev = DEVICE_DT_GET(DT_CHOSEN(zephyr_canbus));
	struct can_frame zf;
	int ret;

	if (!device_is_ready(can_dev)) {
		return false;
	}

	memset(&zf, 0, sizeof(zf));
	zf.id = CANBOSS_POC_TX_ID;
	zf.dlc = 6;
	memcpy(zf.data, payload, 6);

	/* K_NO_WAIT = Mailbox; Callback = kein Blockieren auf ACK. */
	ret = can_send(can_dev, &zf, K_NO_WAIT, poc_can_tx_done, NULL);
	return ret == 0;
}
```

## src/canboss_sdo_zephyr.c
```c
/**
 * canboss_sdo_zephyr.c
 *
 * Zephyr-Implementierung der asynchronen SDO-Client-Schicht
 * (App/canboss_sdo.h): die LVGL-UI stellt Auftraege in eine k_msgq,
 * ein Worker-Thread arbeitet sie sequenziell ueber die blockierenden
 * SDO-Transfers aus lib/canopen/co_node.c ab; die UI pollt nur das Statusfeld.
 */

#include "canboss_sdo.h"

#include "co_node.h"
#include "osal.h"

#include <zephyr/kernel.h>

#define CB_SDO_QUEUE_LEN 16u

K_MSGQ_DEFINE(cb_sdo_msgq, sizeof(canboss_sdo_req_t*), CB_SDO_QUEUE_LEN, sizeof(void*));

static void
cb_sdo_worker(void* arg) {
    (void)arg;
    canboss_sdo_req_t* req;

    for (;;) {
        if (k_msgq_get(&cb_sdo_msgq, &req, K_FOREVER) != 0) {
            continue;
        }

#ifdef CB_DEBUG_FAKE_SDO
        /* Testpfad ohne Bus: zufaellige Erfolgs-/Fehlerantworten, damit
         * die UI-Ergebnispfade (cb_apply_read_result) durchlaufen werden */
        {
            static uint32_t seed = 0x51e9d3a7u;
            seed = seed * 1664525u + 1013904223u;
            k_msleep(1 + (int32_t)((seed >> 8) % 20u));
            if (((seed >> 16) % 8u) == 0u) {
                req->abort_code = 0x06020000u; /* Objekt nicht vorhanden */
                req->state = CB_SDO_ERROR;
            } else {
                if (!req->write) {
                    size_t n = 1u + (size_t)((seed >> 10) % sizeof(req->data));
                    for (size_t i = 0; i < n; i++) {
                        seed = seed * 1664525u + 1013904223u;
                        ((uint8_t*)req->data)[i] = (uint8_t)(seed >> 16);
                    }
                    req->len = n;
                }
                req->state = CB_SDO_DONE;
            }
            continue;
        }
#endif

        uint32_t abort = 0;
        if (req->write) {
            if (cb_co_sdo_write(req->node_id, req->index, req->sub, (const uint8_t*)req->data, req->len, &abort)
                == 0) {
                req->state = CB_SDO_DONE;
            } else {
                req->abort_code = abort;
                req->state = CB_SDO_ERROR;
            }
        } else {
            size_t got = 0;
            if (cb_co_sdo_read(req->node_id, req->index, req->sub, (uint8_t*)req->data, sizeof(req->data), &got,
                               &abort)
                == 0) {
                req->len = got;
                req->state = CB_SDO_DONE;
            } else {
                req->abort_code = abort;
                req->state = CB_SDO_ERROR;
            }
        }
    }
}

void
canboss_sdo_init(void) {
    (void)cb_thread_start(CB_THREAD_SDO_WORKER, cb_sdo_worker, NULL);
}

bool
canboss_sdo_submit(canboss_sdo_req_t* req) {
    if (req == NULL) {
        return false;
    }
    req->abort_code = 0;
    req->state = CB_SDO_PENDING;
    if (k_msgq_put(&cb_sdo_msgq, &req, K_NO_WAIT) != 0) {
        req->state = CB_SDO_IDLE;
        return false;
    }
    return true;
}
```
